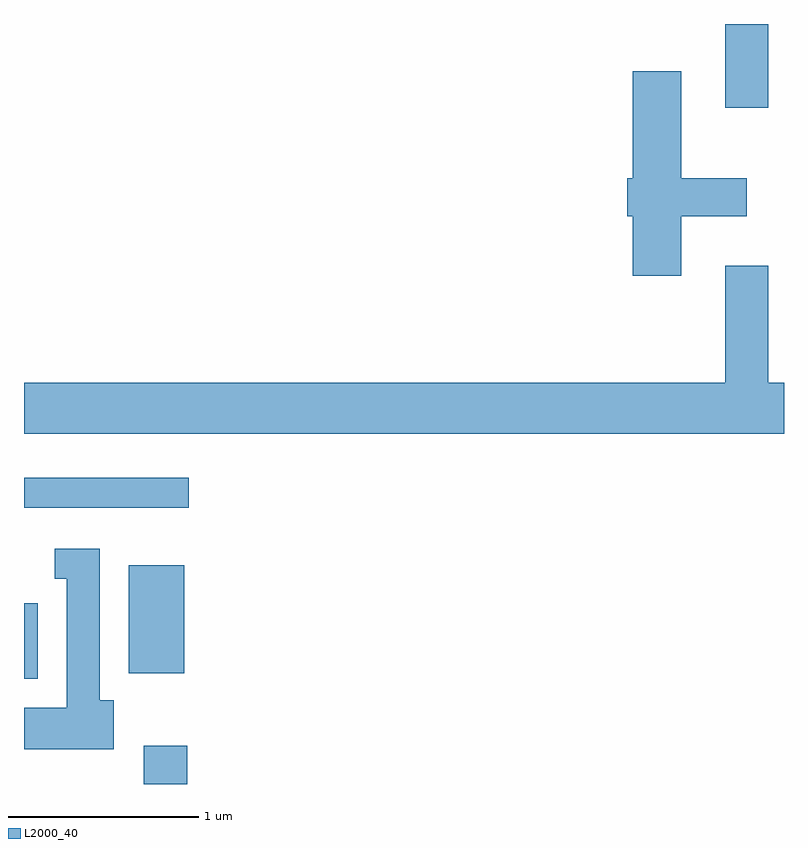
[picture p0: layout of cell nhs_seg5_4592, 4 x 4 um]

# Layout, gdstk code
import gdstk
lib = gdstk.Library(unit=1e-6, precision=1e-09)
def R(c, l, rs):  # rectangles x0, y0, x1, y1
    for r in rs: c.add(gdstk.rectangle(r[:2], r[2:], *l))
def P(c, l, *ps):  # polygons
    for p in ps: c.add(gdstk.Polygon(p, *l))
L2000_40 = (2000, 40)

nhs_seg5_4592 = lib.new_cell('nhs_seg5_4592')
R(nhs_seg5_4592, L2000_40, [(322.241,1446.072,322.469,1446.274), (321.611,1446.626,321.684,1447.024), (322.161,1446.656,322.454,1447.224), (321.611,1447.526,322.478,1447.684), (325.301,1449.631,325.529,1450.072)])
P(nhs_seg5_4592, L2000_40, [(325.069,1449.061),(325.414,1449.061),(325.414,1449.259),(325.069,1449.259),(325.069,1449.824),(324.816,1449.824),(324.816,1449.259),(324.786,1449.259),(324.786,1449.061),(324.816,1449.061),(324.816,1448.746),(325.069,1448.746)],
  [(325.611,1448.184),(325.529,1448.184),(325.529,1448.799),(325.301,1448.799),(325.301,1448.184),(321.611,1448.184),(321.611,1447.916),(325.611,1447.916)],
  [(322.084,1446.514),(322.009,1446.514),(322.009,1447.309),(321.773,1447.309),(321.773,1447.151),(321.836,1447.151),(321.836,1446.474),(321.611,1446.474),(321.611,1446.256),(322.084,1446.256)])

lib.write_gds('nhs_seg5_4592.gds')
